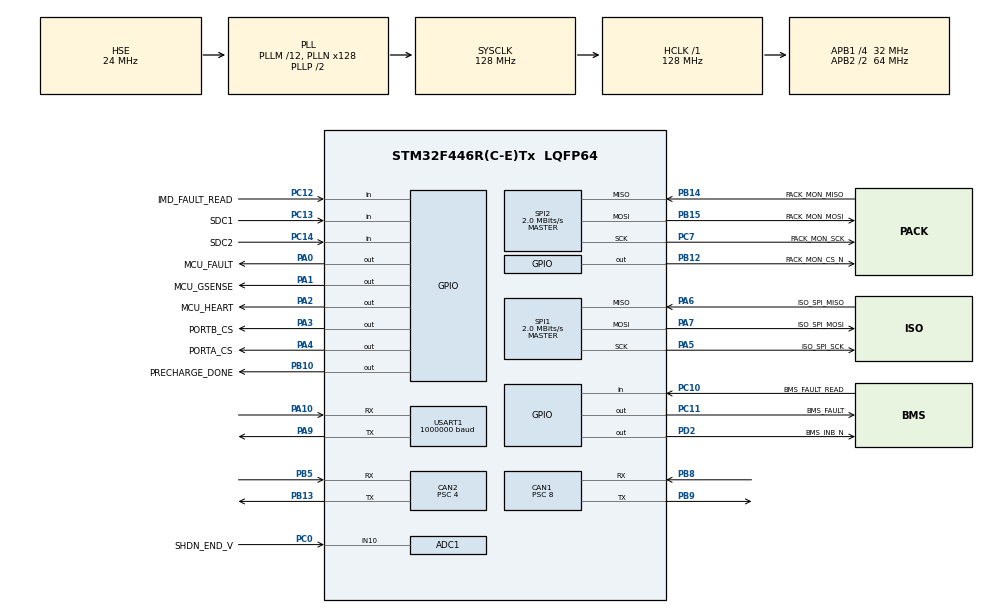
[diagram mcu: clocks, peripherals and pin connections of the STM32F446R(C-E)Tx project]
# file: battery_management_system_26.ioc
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ADC1.Channel-0\#ChannelRegularConversion=ADC_CHANNEL_10
ADC1.ContinuousConvMode=DISABLE
ADC1.ExternalTrigConv=ADC_EXTERNALTRIGCONV_T3_TRGO
ADC1.NbrOfConversionFlag=1
ADC1.Rank-0\#ChannelRegularConversion=1
ADC1.SamplingTime-0\#ChannelRegularConversion=ADC_SAMPLETIME_56CYCLES
ADC1.master=1
CAN1.ABOM=ENABLE
CAN1.AWUM=ENABLE
CAN1.BS1=CAN_BS1_6TQ
CAN1.CalculateBaudRate=500000
CAN1.CalculateTimeBit=2000
CAN1.CalculateTimeQuantum=250.0
CAN1.Prescaler=8
CAN2.ABOM=ENABLE
CAN2.AWUM=ENABLE
CAN2.BS1=CAN_BS1_6TQ
CAN2.CalculateBaudRate=1000000
CAN2.CalculateTimeBit=1000
CAN2.CalculateTimeQuantum=125.0
CAN2.Prescaler=4
Dma.Request0=SPI1_TX
Dma.Request1=SPI1_RX
Dma.Request2=SPI2_TX
Dma.Request3=SPI2_RX
Dma.SPI1_RX.1.Direction=DMA_PERIPH_TO_MEMORY
Dma.SPI1_RX.1.FIFOMode=DMA_FIFOMODE_DISABLE
Dma.SPI1_RX.1.Instance=DMA2_Stream2
Dma.SPI1_RX.1.MemDataAlignment=DMA_MDATAALIGN_BYTE
Dma.SPI1_RX.1.MemInc=DMA_MINC_ENABLE
Dma.SPI1_RX.1.Mode=DMA_NORMAL
Dma.SPI1_RX.1.PeriphDataAlignment=DMA_PDATAALIGN_BYTE
Dma.SPI1_RX.1.PeriphInc=DMA_PINC_DISABLE
Dma.SPI1_RX.1.Priority=DMA_PRIORITY_HIGH
Dma.SPI1_TX.0.Direction=DMA_MEMORY_TO_PERIPH
Dma.SPI1_TX.0.FIFOMode=DMA_FIFOMODE_DISABLE
Dma.SPI1_TX.0.Instance=DMA2_Stream3
Dma.SPI1_TX.0.MemDataAlignment=DMA_MDATAALIGN_BYTE
Dma.SPI1_TX.0.MemInc=DMA_MINC_ENABLE
Dma.SPI1_TX.0.Mode=DMA_NORMAL
Dma.SPI1_TX.0.PeriphDataAlignment=DMA_PDATAALIGN_BYTE
Dma.SPI1_TX.0.PeriphInc=DMA_PINC_DISABLE
Dma.SPI1_TX.0.Priority=DMA_PRIORITY_HIGH
Dma.SPI2_RX.3.Direction=DMA_PERIPH_TO_MEMORY
Dma.SPI2_RX.3.FIFOMode=DMA_FIFOMODE_DISABLE
Dma.SPI2_RX.3.Instance=DMA1_Stream3
Dma.SPI2_RX.3.MemDataAlignment=DMA_MDATAALIGN_BYTE
Dma.SPI2_RX.3.MemInc=DMA_MINC_ENABLE
Dma.SPI2_RX.3.Mode=DMA_NORMAL
Dma.SPI2_RX.3.PeriphDataAlignment=DMA_PDATAALIGN_BYTE
Dma.SPI2_RX.3.PeriphInc=DMA_PINC_DISABLE
Dma.SPI2_RX.3.Priority=DMA_PRIORITY_HIGH
Dma.SPI2_TX.2.Direction=DMA_MEMORY_TO_PERIPH
Dma.SPI2_TX.2.FIFOMode=DMA_FIFOMODE_DISABLE
Dma.SPI2_TX.2.Instance=DMA1_Stream4
Dma.SPI2_TX.2.MemDataAlignment=DMA_MDATAALIGN_BYTE
Dma.SPI2_TX.2.MemInc=DMA_MINC_ENABLE
Dma.SPI2_TX.2.Mode=DMA_NORMAL
Dma.SPI2_TX.2.PeriphDataAlignment=DMA_PDATAALIGN_BYTE
Dma.SPI2_TX.2.PeriphInc=DMA_PINC_DISABLE
Dma.SPI2_TX.2.Priority=DMA_PRIORITY_HIGH
FREERTOS.INCLUDE_vTaskDelayUntil=1
FREERTOS.Tasks01=printTask,0,2048,startPrintTask,Default,NULL,Static,printTaskBuffer,printTaskControlBlock;statusUpdateTas,-3,256,startStatusUpdateTask,Default,NULL,Static,idleTaskBuffer,idleTaskControlBlock;updateCellMon,0,1024,startUpdateCellMon,Default,NULL,Static,updateCellMonBuffer,updateCellMonControlBlock;updatePackMon,0,1024,startUpdatePackMon,Default,NULL,Static,updatePackMonBuffer,updatePackMonControlBlock;serviceGcan,0,1024,startServiceGcanTask,Default,NULL,Static,serviceGcanBuffer,serviceGcanControlBlock;chargerTask,1,1024,startChargerTask,Default,NULL,Static,chargerTaskBuffer,chargerTaskControlBlock;imdTask,-3,1024,StartImdTask,Default,NULL,Static,imdTaskBuffer,imdTaskControlBlock
Mcu.Family=STM32F4
Mcu.Name=STM32F446R(C-E)Tx
Mcu.Package=LQFP64
NVIC.ADC_IRQn=true\:5\:0\:false\:false\:true\:true\:true\:true\:true
NVIC.CAN1_RX0_IRQn=true\:5\:0\:false\:false\:true\:true\:true\:true\:true
NVIC.CAN1_RX1_IRQn=true\:5\:0\:false\:false\:true\:true\:true\:true\:true
NVIC.CAN1_TX_IRQn=true\:5\:0\:false\:false\:true\:true\:true\:true\:true
NVIC.CAN2_RX0_IRQn=true\:5\:0\:false\:false\:true\:true\:true\:true\:true
NVIC.CAN2_RX1_IRQn=true\:5\:0\:false\:false\:true\:true\:true\:true\:true
NVIC.CAN2_TX_IRQn=true\:5\:0\:false\:false\:true\:true\:true\:true\:true
NVIC.DMA1_Stream3_IRQn=true\:5\:0\:false\:false\:true\:true\:false\:true\:true
NVIC.DMA1_Stream4_IRQn=true\:5\:0\:false\:false\:true\:true\:false\:true\:true
NVIC.DMA2_Stream2_IRQn=true\:5\:0\:true\:false\:true\:false\:false\:true\:true
NVIC.DMA2_Stream3_IRQn=true\:5\:0\:false\:false\:true\:true\:false\:true\:true
NVIC.PriorityGroup=NVIC_PRIORITYGROUP_4
NVIC.SPI1_IRQn=true\:5\:0\:false\:false\:true\:true\:true\:true\:true
NVIC.SPI2_IRQn=true\:5\:0\:false\:false\:true\:true\:true\:true\:true
NVIC.TIM3_IRQn=true\:5\:0\:false\:false\:true\:true\:true\:true\:true
NVIC.TIM6_DAC_IRQn=true\:15\:0\:false\:false\:true\:false\:false\:true\:true
NVIC.TIM7_IRQn=true\:5\:0\:false\:false\:true\:true\:true\:true\:true
NVIC.TimeBase=TIM6_DAC_IRQn
NVIC.TimeBaseIP=TIM6
PA0-WKUP.GPIO_Label=MCU_FAULT
PA0-WKUP.Signal=GPIO_Output
PA1.GPIO_Label=MCU_GSENSE
PA1.Signal=GPIO_Output
PA10.Mode=Asynchronous
PA10.Signal=USART1_RX
PA13.GPIO_Label=TMS
PA13.Mode=Trace_Asynchronous_SW
PA13.Signal=SYS_JTMS-SWDIO
PA14.GPIO_Label=TCK
PA14.Mode=Trace_Asynchronous_SW
PA14.Signal=SYS_JTCK-SWCLK
PA2.GPIO_Label=MCU_HEART
PA2.Signal=GPIO_Output
PA3.GPIO_Label=PORTB_CS
PA3.Signal=GPIO_Output
PA4.GPIO_Label=PORTA_CS
PA4.Signal=GPIO_Output
PA5.GPIO_Label=ISO_SPI_SCK
PA5.Mode=Full_Duplex_Master
PA5.Signal=SPI1_SCK
PA6.GPIO_Label=ISO_SPI_MISO
PA6.GPIO_PuPd=GPIO_PULLUP
PA6.Mode=Full_Duplex_Master
PA6.Signal=SPI1_MISO
PA7.GPIO_Label=ISO_SPI_MOSI
PA7.Mode=Full_Duplex_Master
PA7.Signal=SPI1_MOSI
PA9.Mode=Asynchronous
PA9.Signal=USART1_TX
PB10.GPIO_Label=PRECHARGE_DONE
PB10.Signal=GPIO_Output
PB12.GPIO_Label=PACK_MON_CS_N
PB12.Signal=GPIO_Output
PB13.Mode=CAN_Activate
PB13.Signal=CAN2_TX
PB14.GPIO_Label=PACK_MON_MISO
PB14.GPIO_PuPd=GPIO_PULLUP
PB14.Mode=Full_Duplex_Master
PB14.Signal=SPI2_MISO
PB15.GPIO_Label=PACK_MON_MOSI
PB15.Mode=Full_Duplex_Master
PB15.Signal=SPI2_MOSI
PB3.GPIO_Label=SWO
PB3.Mode=Trace_Asynchronous_SW
PB3.Signal=SYS_JTDO-SWO
PB5.Mode=CAN_Activate
PB5.Signal=CAN2_RX
PB8.Mode=CAN_Activate
PB8.Signal=CAN1_RX
PB9.Mode=CAN_Activate
PB9.Signal=CAN1_TX
PC0.GPIO_Label=SHDN_END_V
PC0.Signal=ADCx_IN10
PC10.GPIO_Label=BMS_FAULT_READ
PC10.Signal=GPIO_Input
PC11.GPIO_Label=BMS_FAULT
PC11.GPIO_ModeDefaultOutputPP=GPIO_MODE_OUTPUT_OD
PC11.GPIO_PuPd=GPIO_NOPULL
PC11.Signal=GPIO_Output
PC12.GPIO_Label=IMD_FAULT_READ
PC12.Signal=GPIO_Input
PC13.GPIO_Label=SDC1
PC13.Signal=GPIO_Input
PC14-OSC32_IN.GPIO_Label=SDC2
PC14-OSC32_IN.Signal=GPIO_Input
PC7.GPIO_Label=PACK_MON_SCK
PC7.Mode=Full_Duplex_Master
PC7.Signal=SPI2_SCK
PD2.GPIO_Label=BMS_INB_N
PD2.GPIO_ModeDefaultOutputPP=GPIO_MODE_OUTPUT_OD
PD2.GPIO_PuPd=GPIO_NOPULL
PD2.Signal=GPIO_Output
PH0-OSC_IN.Mode=HSE-External-Oscillator
PH0-OSC_IN.Signal=RCC_OSC_IN
PH1-OSC_OUT.Mode=HSE-External-Oscillator
PH1-OSC_OUT.Signal=RCC_OSC_OUT
ProjectManager.HeapSize=0x200
ProjectManager.StackSize=0x400
ProjectManager.TargetToolchain=CMake
RCC.48MHZClocksFreq_Value=84000000
RCC.AHBFreq_Value=128000000
RCC.APB1CLKDivider=RCC_HCLK_DIV4
RCC.APB1Freq_Value=32000000
RCC.APB1TimFreq_Value=64000000
RCC.APB2CLKDivider=RCC_HCLK_DIV2
RCC.APB2Freq_Value=64000000
RCC.APB2TimFreq_Value=128000000
RCC.CortexFreq_Value=128000000
RCC.FLatency-AdvancedSettings=FLASH_LATENCY_4
RCC.HCLKFreq_Value=128000000
RCC.HSE_VALUE=24000000
RCC.HSI_VALUE=16000000
RCC.PLLM=12
RCC.PLLN=128
RCC.PLLSourceVirtual=RCC_PLLSOURCE_HSE
RCC.SYSCLKFreq_VALUE=128000000
RCC.SYSCLKSource=RCC_SYSCLKSOURCE_PLLCLK
RCC.USBFreq_Value=128000000
RCC.VCOOutputFreq_Value=256000000
SH.ADCx_IN10.0=ADC1_IN10,IN10
SPI1.BaudRatePrescaler=SPI_BAUDRATEPRESCALER_32
SPI1.CLKPhase=SPI_PHASE_2EDGE
SPI1.CLKPolarity=SPI_POLARITY_HIGH
SPI1.CalculateBaudRate=2.0 MBits/s
SPI1.Direction=SPI_DIRECTION_2LINES
SPI1.Mode=SPI_MODE_MASTER
SPI1.VirtualType=VM_MASTER
SPI2.BaudRatePrescaler=SPI_BAUDRATEPRESCALER_16
SPI2.CLKPhase=SPI_PHASE_2EDGE
SPI2.CLKPolarity=SPI_POLARITY_HIGH
SPI2.CalculateBaudRate=2.0 MBits/s
SPI2.Direction=SPI_DIRECTION_2LINES
SPI2.Mode=SPI_MODE_MASTER
SPI2.VirtualType=VM_MASTER
TIM14.Prescaler=64-1
TIM2.Prescaler=63
TIM3.AutoReloadPreload=TIM_AUTORELOAD_PRELOAD_DISABLE
TIM3.Period=1000-1
TIM3.Prescaler=64-1
TIM3.TIM_MasterOutputTrigger=TIM_TRGO_UPDATE
TIM7.Prescaler=64-1
USART1.BaudRate=1000000
USART1.VirtualMode=VM_ASYNC
VP_FREERTOS_VS_CMSIS_V1.Mode=CMSIS_V1
VP_SYS_VS_tim6.Mode=TIM6
VP_TIM14_VS_ClockSourceINT.Mode=Enable_Timer
VP_TIM2_VS_ClockSourceINT.Mode=Internal
VP_TIM3_VS_ClockSourceINT.Mode=Internal
VP_TIM7_VS_ClockSourceINT.Mode=Enable_Timer
board=NUCLEO-F446RE

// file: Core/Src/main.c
/* USER CODE BEGIN Header */
/**
  ******************************************************************************
  * @file           : main.c
  * @brief          : Main program body
  ******************************************************************************
  * @attention
  *
  * Copyright (c) 2025 STMicroelectronics.
  * All rights reserved.
  *
  * This software is licensed under terms that can be found in the LICENSE file
  * in the root directory of this software component.
  * If no LICENSE file comes with this software, it is provided AS-IS.
  *
  ******************************************************************************
  */
/* USER CODE END Header */
#include "main.h"
#include "cmsis_os.h"

/* USER CODE BEGIN Includes */
#include "gcanUpdateTask.h"
#include "printTask.h"
#include "chargerTask.h"
#include "statusUpdateTask.h"
#include "updateCellMonitorTask.h"
#include "updatePackMonitorTask.h"
#include "imd.h"
#include "utils.h"
#include "GopherCAN.h"
#include "gopher_sense.h"
#include <stdbool.h>

/* USER CODE END Includes */

ADC_HandleTypeDef hadc1;

CAN_HandleTypeDef hcan1;
CAN_HandleTypeDef hcan2;

SPI_HandleTypeDef hspi1;
SPI_HandleTypeDef hspi2;
DMA_HandleTypeDef hdma_spi1_tx;
DMA_HandleTypeDef hdma_spi1_rx;
DMA_HandleTypeDef hdma_spi2_tx;
DMA_HandleTypeDef hdma_spi2_rx;

TIM_HandleTypeDef htim2;
TIM_HandleTypeDef htim3;
TIM_HandleTypeDef htim7;
TIM_HandleTypeDef htim14;

UART_HandleTypeDef huart1;

osThreadId printTaskHandle;
uint32_t printTaskBuffer[ 2048 ];
osStaticThreadDef_t printTaskControlBlock;
osThreadId statusUpdateTasHandle;
uint32_t idleTaskBuffer[ 256 ];
osStaticThreadDef_t idleTaskControlBlock;
osThreadId updateCellMonHandle;
uint32_t updateCellMonBuffer[ 1024 ];
osStaticThreadDef_t updateCellMonControlBlock;
osThreadId updatePackMonHandle;
uint32_t updatePackMonBuffer[ 1024 ];
osStaticThreadDef_t updatePackMonControlBlock;
osThreadId serviceGcanHandle;
uint32_t serviceGcanBuffer[ 1024 ];
osStaticThreadDef_t serviceGcanControlBlock;
osThreadId chargerTaskHandle;
uint32_t chargerTaskBuffer[ 1024 ];
osStaticThreadDef_t chargerTaskControlBlock;
osThreadId imdTaskHandle;
uint32_t imdTaskBuffer[ 1024 ];
osStaticThreadDef_t imdTaskControlBlock;

void SystemClock_Config(void);
static void MX_GPIO_Init(void);
static void MX_DMA_Init(void);
static void MX_SPI1_Init(void);
static void MX_TIM7_Init(void);
static void MX_USART1_UART_Init(void);
static void MX_SPI2_Init(void);
static void MX_TIM2_Init(void);
static void MX_TIM14_Init(void);
static void MX_CAN2_Init(void);
static void MX_CAN1_Init(void);
static void MX_ADC1_Init(void);
static void MX_TIM3_Init(void);
void startPrintTask(void const * argument);
void startStatusUpdateTask(void const * argument);
void startUpdateCellMon(void const * argument);
void startUpdatePackMon(void const * argument);
void startServiceGcanTask(void const * argument);
void startChargerTask(void const * argument);
void StartImdTask(void const * argument);

/* USER CODE BEGIN PFP */
#ifdef __GNUC__
#define PUTCHAR_PROTOTYPE int __io_putchar(int ch)
#define GETCHAR_PROTOTYPE int __io_getchar(void)
#else
#define PUTCHAR_PROTOTYPE int fputc(int ch, FILE *f)
#define GETCHAR_PROTOTYPE int fgetc(FILE *f)
#endif

PUTCHAR_PROTOTYPE
{
  HAL_UART_Transmit(&huart1, (uint8_t *)&ch, 1, HAL_MAX_DELAY);
  return ch;
}

GETCHAR_PROTOTYPE
{
  uint8_t ch = 0;

  /* Clear the Overrun flag just before receiving the first character */
  __HAL_UART_CLEAR_OREFLAG(&huart1);

  /* Wait for reception of a character on the USART RX line and echo this
   * character on console */
  HAL_UART_Receive(&huart1, (uint8_t *)&ch, 1, HAL_MAX_DELAY);
  HAL_UART_Transmit(&huart1, (uint8_t *)&ch, 1, HAL_MAX_DELAY);
  return ch;
}
/* USER CODE END PFP */

/* USER CODE BEGIN 0 */
/*!
  @brief   Interrupt when SPI TX/RX finishes. Unblock task by releasing
  	  	   semaphore
  @param   SPI Handle
*/
void HAL_SPI_TxRxCpltCallback(SPI_HandleTypeDef *hspi)
{
  BaseType_t xHigherPriorityTaskWoken = pdFALSE;

	if (hspi == &hspi1)
	{
		xTaskNotifyFromISR(updateCellMonHandle, SPI_SUCCESS, eSetBits, &xHigherPriorityTaskWoken);
	}
  if (hspi == &hspi2)
  {
		xTaskNotifyFromISR(updatePackMonHandle, SPI_SUCCESS, eSetBits, &xHigherPriorityTaskWoken);
  }

  portYIELD_FROM_ISR(xHigherPriorityTaskWoken);
}

void HAL_SPI_TxCpltCallback(SPI_HandleTypeDef *hspi)
{
  BaseType_t xHigherPriorityTaskWoken = pdFALSE;

	if (hspi == &hspi1)
	{
		xTaskNotifyFromISR(updateCellMonHandle, SPI_SUCCESS, eSetBits, &xHigherPriorityTaskWoken);
	}
  if (hspi == &hspi2)
  {
		xTaskNotifyFromISR(updatePackMonHandle, SPI_SUCCESS, eSetBits, &xHigherPriorityTaskWoken);
  }

  portYIELD_FROM_ISR(xHigherPriorityTaskWoken);
}

void HAL_ADC_ConvCpltCallback(ADC_HandleTypeDef* hadc)
{
    if(hadc == &hadc1)
    {
        adcRawValue = HAL_ADC_GetValue(hadc);
    }
}

/* USER CODE END 0 */

int main(void)
{

  /* MCU Configuration--------------------------------------------------------*/

  /* Reset of all peripherals, Initializes the Flash interface and the Systick. */
  HAL_Init();

  /* Configure the system clock */
  SystemClock_Config();

  /* Initialize all configured peripherals */
  MX_GPIO_Init();
  MX_DMA_Init();
  MX_SPI1_Init();
  MX_TIM7_Init();
  MX_USART1_UART_Init();
  MX_SPI2_Init();
  MX_TIM2_Init();
  MX_TIM14_Init();
  MX_CAN2_Init();
  MX_CAN1_Init();
  MX_ADC1_Init();
  MX_TIM3_Init();
  /* USER CODE BEGIN 2 */
  HAL_TIM_Base_Start(&htim2);

  init_can(&hcan2, GCAN0);
  init_can(&hcan1, GCAN2);
  gsense_init(&hcan2, MCU_GSENSE_GPIO_Port, MCU_GSENSE_Pin);

  /* USER CODE END 2 */

  /* Create the thread(s) */
  /* definition and creation of printTask */
  osThreadStaticDef(printTask, startPrintTask, osPriorityNormal, 0, 2048, printTaskBuffer, &printTaskControlBlock);
  printTaskHandle = osThreadCreate(osThread(printTask), NULL);

  /* definition and creation of statusUpdateTas */
  osThreadStaticDef(statusUpdateTas, startStatusUpdateTask, osPriorityIdle, 0, 256, idleTaskBuffer, &idleTaskControlBlock);
  statusUpdateTasHandle = osThreadCreate(osThread(statusUpdateTas), NULL);

  /* definition and creation of updateCellMon */
  osThreadStaticDef(updateCellMon, startUpdateCellMon, osPriorityNormal, 0, 1024, updateCellMonBuffer, &updateCellMonControlBlock);
  updateCellMonHandle = osThreadCreate(osThread(updateCellMon), NULL);

  /* definition and creation of updatePackMon */
  osThreadStaticDef(updatePackMon, startUpdatePackMon, osPriorityNormal, 0, 1024, updatePackMonBuffer, &updatePackMonControlBlock);
  updatePackMonHandle = osThreadCreate(osThread(updatePackMon), NULL);

  /* definition and creation of serviceGcan */
  osThreadStaticDef(serviceGcan, startServiceGcanTask, osPriorityNormal, 0, 1024, serviceGcanBuffer, &serviceGcanControlBlock);
  serviceGcanHandle = osThreadCreate(osThread(serviceGcan), NULL);

  /* definition and creation of chargerTask */
  osThreadStaticDef(chargerTask, startChargerTask, osPriorityAboveNormal, 0, 1024, chargerTaskBuffer, &chargerTaskControlBlock);
  chargerTaskHandle = osThreadCreate(osThread(chargerTask), NULL);

  /* definition and creation of imdTask */
  osThreadStaticDef(imdTask, StartImdTask, osPriorityIdle, 0, 1024, imdTaskBuffer, &imdTaskControlBlock);
  imdTaskHandle = osThreadCreate(osThread(imdTask), NULL);

  /* Start scheduler */
  osKernelStart();

  /* We should never get here as control is now taken by the scheduler */

  /* Infinite loop */
  while (1)
  {

  }
}

void SystemClock_Config(void)
{
  RCC_OscInitTypeDef RCC_OscInitStruct = {0};
  RCC_ClkInitTypeDef RCC_ClkInitStruct = {0};

  /** Configure the main internal regulator output voltage
  */
  __HAL_RCC_PWR_CLK_ENABLE();
  __HAL_PWR_VOLTAGESCALING_CONFIG(PWR_REGULATOR_VOLTAGE_SCALE2);

  /** Initializes the RCC Oscillators according to the specified parameters
  * in the RCC_OscInitTypeDef structure.
  */
  RCC_OscInitStruct.OscillatorType = RCC_OSCILLATORTYPE_HSE;
  RCC_OscInitStruct.HSEState = RCC_HSE_ON;
  RCC_OscInitStruct.PLL.PLLState = RCC_PLL_ON;
  RCC_OscInitStruct.PLL.PLLSource = RCC_PLLSOURCE_HSE;
  RCC_OscInitStruct.PLL.PLLM = 12;
  RCC_OscInitStruct.PLL.PLLN = 128;
  RCC_OscInitStruct.PLL.PLLP = RCC_PLLP_DIV2;
  RCC_OscInitStruct.PLL.PLLQ = 2;
  RCC_OscInitStruct.PLL.PLLR = 2;
  if (HAL_RCC_OscConfig(&RCC_OscInitStruct) != HAL_OK)
  {
    Error_Handler();
  }

  /** Initializes the CPU, AHB and APB buses clocks
  */
  RCC_ClkInitStruct.ClockType = RCC_CLOCKTYPE_HCLK|RCC_CLOCKTYPE_SYSCLK
                              |RCC_CLOCKTYPE_PCLK1|RCC_CLOCKTYPE_PCLK2;
  RCC_ClkInitStruct.SYSCLKSource = RCC_SYSCLKSOURCE_PLLCLK;
  RCC_ClkInitStruct.AHBCLKDivider = RCC_SYSCLK_DIV1;
  RCC_ClkInitStruct.APB1CLKDivider = RCC_HCLK_DIV4;
  RCC_ClkInitStruct.APB2CLKDivider = RCC_HCLK_DIV2;

  if (HAL_RCC_ClockConfig(&RCC_ClkInitStruct, FLASH_LATENCY_4) != HAL_OK)
  {
    Error_Handler();
  }
}

static void MX_ADC1_Init(void)
{

  ADC_ChannelConfTypeDef sConfig = {0};

  /** Configure the global features of the ADC (Clock, Resolution, Data Alignment and number of conversion)
  */
  hadc1.Instance = ADC1;
  hadc1.Init.ClockPrescaler = ADC_CLOCK_SYNC_PCLK_DIV2;
  hadc1.Init.Resolution = ADC_RESOLUTION_12B;
  hadc1.Init.ScanConvMode = DISABLE;
  hadc1.Init.ContinuousConvMode = DISABLE;
  hadc1.Init.DiscontinuousConvMode = DISABLE;
  hadc1.Init.ExternalTrigConvEdge = ADC_EXTERNALTRIGCONVEDGE_RISING;
  hadc1.Init.ExternalTrigConv = ADC_EXTERNALTRIGCONV_T3_TRGO;
  hadc1.Init.DataAlign = ADC_DATAALIGN_RIGHT;
  hadc1.Init.NbrOfConversion = 1;
  hadc1.Init.DMAContinuousRequests = DISABLE;
  hadc1.Init.EOCSelection = ADC_EOC_SINGLE_CONV;
  if (HAL_ADC_Init(&hadc1) != HAL_OK)
  {
    Error_Handler();
  }

  /** Configure for the selected ADC regular channel its corresponding rank in the sequencer and its sample time.
  */
  sConfig.Channel = ADC_CHANNEL_10;
  sConfig.Rank = 1;
  sConfig.SamplingTime = ADC_SAMPLETIME_56CYCLES;
  if (HAL_ADC_ConfigChannel(&hadc1, &sConfig) != HAL_OK)
  {
    Error_Handler();
  }

}

static void MX_CAN1_Init(void)
{

  hcan1.Instance = CAN1;
  hcan1.Init.Prescaler = 8;
  hcan1.Init.Mode = CAN_MODE_NORMAL;
  hcan1.Init.SyncJumpWidth = CAN_SJW_1TQ;
  hcan1.Init.TimeSeg1 = CAN_BS1_6TQ;
  hcan1.Init.TimeSeg2 = CAN_BS2_1TQ;
  hcan1.Init.TimeTriggeredMode = DISABLE;
  hcan1.Init.AutoBusOff = ENABLE;
  hcan1.Init.AutoWakeUp = ENABLE;
  hcan1.Init.AutoRetransmission = DISABLE;
  hcan1.Init.ReceiveFifoLocked = DISABLE;
  hcan1.Init.TransmitFifoPriority = DISABLE;
  if (HAL_CAN_Init(&hcan1) != HAL_OK)
  {
    Error_Handler();
  }

}

static void MX_CAN2_Init(void)
{

  hcan2.Instance = CAN2;
  hcan2.Init.Prescaler = 4;
  hcan2.Init.Mode = CAN_MODE_NORMAL;
  hcan2.Init.SyncJumpWidth = CAN_SJW_1TQ;
  hcan2.Init.TimeSeg1 = CAN_BS1_6TQ;
  hcan2.Init.TimeSeg2 = CAN_BS2_1TQ;
  hcan2.Init.TimeTriggeredMode = DISABLE;
  hcan2.Init.AutoBusOff = ENABLE;
  hcan2.Init.AutoWakeUp = ENABLE;
  hcan2.Init.AutoRetransmission = DISABLE;
  hcan2.Init.ReceiveFifoLocked = DISABLE;
  hcan2.Init.TransmitFifoPriority = DISABLE;
  if (HAL_CAN_Init(&hcan2) != HAL_OK)
  {
    Error_Handler();
  }

}

static void MX_SPI1_Init(void)
{

  /* SPI1 parameter configuration*/
  hspi1.Instance = SPI1;
  hspi1.Init.Mode = SPI_MODE_MASTER;
  hspi1.Init.Direction = SPI_DIRECTION_2LINES;
  hspi1.Init.DataSize = SPI_DATASIZE_8BIT;
  hspi1.Init.CLKPolarity = SPI_POLARITY_HIGH;
  hspi1.Init.CLKPhase = SPI_PHASE_2EDGE;
  hspi1.Init.NSS = SPI_NSS_SOFT;
  hspi1.Init.BaudRatePrescaler = SPI_BAUDRATEPRESCALER_32;
  hspi1.Init.FirstBit = SPI_FIRSTBIT_MSB;
  hspi1.Init.TIMode = SPI_TIMODE_DISABLE;
  hspi1.Init.CRCCalculation = SPI_CRCCALCULATION_DISABLE;
  hspi1.Init.CRCPolynomial = 10;
  if (HAL_SPI_Init(&hspi1) != HAL_OK)
  {
    Error_Handler();
  }

}

static void MX_SPI2_Init(void)
{

  /* SPI2 parameter configuration*/
  hspi2.Instance = SPI2;
  hspi2.Init.Mode = SPI_MODE_MASTER;
  hspi2.Init.Direction = SPI_DIRECTION_2LINES;
  hspi2.Init.DataSize = SPI_DATASIZE_8BIT;
  hspi2.Init.CLKPolarity = SPI_POLARITY_HIGH;
  hspi2.Init.CLKPhase = SPI_PHASE_2EDGE;
  hspi2.Init.NSS = SPI_NSS_SOFT;
  hspi2.Init.BaudRatePrescaler = SPI_BAUDRATEPRESCALER_16;
  hspi2.Init.FirstBit = SPI_FIRSTBIT_MSB;
  hspi2.Init.TIMode = SPI_TIMODE_DISABLE;
  hspi2.Init.CRCCalculation = SPI_CRCCALCULATION_DISABLE;
  hspi2.Init.CRCPolynomial = 10;
  if (HAL_SPI_Init(&hspi2) != HAL_OK)
  {
    Error_Handler();
  }

}

static void MX_TIM2_Init(void)
{

  TIM_ClockConfigTypeDef sClockSourceConfig = {0};
  TIM_MasterConfigTypeDef sMasterConfig = {0};

  htim2.Instance = TIM2;
  htim2.Init.Prescaler = 63;
  htim2.Init.CounterMode = TIM_COUNTERMODE_UP;
  htim2.Init.Period = 4294967295;
  htim2.Init.ClockDivision = TIM_CLOCKDIVISION_DIV1;
  htim2.Init.AutoReloadPreload = TIM_AUTORELOAD_PRELOAD_DISABLE;
  if (HAL_TIM_Base_Init(&htim2) != HAL_OK)
  {
    Error_Handler();
  }
  sClockSourceConfig.ClockSource = TIM_CLOCKSOURCE_INTERNAL;
  if (HAL_TIM_ConfigClockSource(&htim2, &sClockSourceConfig) != HAL_OK)
  {
    Error_Handler();
  }
  sMasterConfig.MasterOutputTrigger = TIM_TRGO_RESET;
  sMasterConfig.MasterSlaveMode = TIM_MASTERSLAVEMODE_DISABLE;
  if (HAL_TIMEx_MasterConfigSynchronization(&htim2, &sMasterConfig) != HAL_OK)
  {
    Error_Handler();
  }

}

static void MX_TIM3_Init(void)
{

  TIM_ClockConfigTypeDef sClockSourceConfig = {0};
  TIM_MasterConfigTypeDef sMasterConfig = {0};

  htim3.Instance = TIM3;
  htim3.Init.Prescaler = 64-1;
  htim3.Init.CounterMode = TIM_COUNTERMODE_UP;
  htim3.Init.Period = 1000-1;
  htim3.Init.ClockDivision = TIM_CLOCKDIVISION_DIV1;
  htim3.Init.AutoReloadPreload = TIM_AUTORELOAD_PRELOAD_DISABLE;
  if (HAL_TIM_Base_Init(&htim3) != HAL_OK)
  {
    Error_Handler();
  }
  sClockSourceConfig.ClockSource = TIM_CLOCKSOURCE_INTERNAL;
  if (HAL_TIM_ConfigClockSource(&htim3, &sClockSourceConfig) != HAL_OK)
  {
    Error_Handler();
  }
  sMasterConfig.MasterOutputTrigger = TIM_TRGO_UPDATE;
  sMasterConfig.MasterSlaveMode = TIM_MASTERSLAVEMODE_DISABLE;
  if (HAL_TIMEx_MasterConfigSynchronization(&htim3, &sMasterConfig) != HAL_OK)
  {
    Error_Handler();
  }

}

static void MX_TIM7_Init(void)
{

  TIM_MasterConfigTypeDef sMasterConfig = {0};

  htim7.Instance = TIM7;
  htim7.Init.Prescaler = 64-1;
  htim7.Init.CounterMode = TIM_COUNTERMODE_UP;
  htim7.Init.Period = 65535;
  htim7.Init.AutoReloadPreload = TIM_AUTORELOAD_PRELOAD_DISABLE;
  if (HAL_TIM_Base_Init(&htim7) != HAL_OK)
  {
    Error_Handler();
  }
  sMasterConfig.MasterOutputTrigger = TIM_TRGO_RESET;
  sMasterConfig.MasterSlaveMode = TIM_MASTERSLAVEMODE_DISABLE;
  if (HAL_TIMEx_MasterConfigSynchronization(&htim7, &sMasterConfig) != HAL_OK)
  {
    Error_Handler();
  }

}

static void MX_TIM14_Init(void)
{

  htim14.Instance = TIM14;
  htim14.Init.Prescaler = 64-1;
  htim14.Init.CounterMode = TIM_COUNTERMODE_UP;
  htim14.Init.Period = 65535;
  htim14.Init.ClockDivision = TIM_CLOCKDIVISION_DIV1;
  htim14.Init.AutoReloadPreload = TIM_AUTORELOAD_PRELOAD_DISABLE;
  if (HAL_TIM_Base_Init(&htim14) != HAL_OK)
  {
    Error_Handler();
  }

}

static void MX_USART1_UART_Init(void)
{

  huart1.Instance = USART1;
  huart1.Init.BaudRate = 1000000;
  huart1.Init.WordLength = UART_WORDLENGTH_8B;
  huart1.Init.StopBits = UART_STOPBITS_1;
  huart1.Init.Parity = UART_PARITY_NONE;
  huart1.Init.Mode = UART_MODE_TX_RX;
  huart1.Init.HwFlowCtl = UART_HWCONTROL_NONE;
  huart1.Init.OverSampling = UART_OVERSAMPLING_16;
  if (HAL_UART_Init(&huart1) != HAL_OK)
  {
    Error_Handler();
  }

}

static void MX_DMA_Init(void)
{

  /* DMA controller clock enable */
  __HAL_RCC_DMA2_CLK_ENABLE();
  __HAL_RCC_DMA1_CLK_ENABLE();

  /* DMA interrupt init */
  /* DMA1_Stream3_IRQn interrupt configuration */
  HAL_NVIC_SetPriority(DMA1_Stream3_IRQn, 5, 0);
  HAL_NVIC_EnableIRQ(DMA1_Stream3_IRQn);
  /* DMA1_Stream4_IRQn interrupt configuration */
  HAL_NVIC_SetPriority(DMA1_Stream4_IRQn, 5, 0);
  HAL_NVIC_EnableIRQ(DMA1_Stream4_IRQn);
  /* DMA2_Stream2_IRQn interrupt configuration */
  HAL_NVIC_SetPriority(DMA2_Stream2_IRQn, 5, 0);
  HAL_NVIC_EnableIRQ(DMA2_Stream2_IRQn);
  /* DMA2_Stream3_IRQn interrupt configuration */
  HAL_NVIC_SetPriority(DMA2_Stream3_IRQn, 5, 0);
  HAL_NVIC_EnableIRQ(DMA2_Stream3_IRQn);

}

static void MX_GPIO_Init(void)
{
  GPIO_InitTypeDef GPIO_InitStruct = {0};

  /* GPIO Ports Clock Enable */
  __HAL_RCC_GPIOC_CLK_ENABLE();
  __HAL_RCC_GPIOH_CLK_ENABLE();
  __HAL_RCC_GPIOA_CLK_ENABLE();
  __HAL_RCC_GPIOB_CLK_ENABLE();
  __HAL_RCC_GPIOD_CLK_ENABLE();

  /*Configure GPIO pin Output Level */
  HAL_GPIO_WritePin(GPIOA, MCU_FAULT_Pin|MCU_GSENSE_Pin|MCU_HEART_Pin|PORTB_CS_Pin
                          |PORTA_CS_Pin, GPIO_PIN_RESET);

  /*Configure GPIO pin Output Level */
  HAL_GPIO_WritePin(GPIOB, PRECHARGE_DONE_Pin|PACK_MON_CS_N_Pin, GPIO_PIN_RESET);

  /*Configure GPIO pin Output Level */
  HAL_GPIO_WritePin(BMS_FAULT_GPIO_Port, BMS_FAULT_Pin, GPIO_PIN_RESET);

  /*Configure GPIO pin Output Level */
  HAL_GPIO_WritePin(BMS_INB_N_GPIO_Port, BMS_INB_N_Pin, GPIO_PIN_RESET);

  /*Configure GPIO pins : SDC1_Pin SDC2_Pin BMS_FAULT_READ_Pin IMD_FAULT_READ_Pin */
  GPIO_InitStruct.Pin = SDC1_Pin|SDC2_Pin|BMS_FAULT_READ_Pin|IMD_FAULT_READ_Pin;
  GPIO_InitStruct.Mode = GPIO_MODE_INPUT;
  GPIO_InitStruct.Pull = GPIO_NOPULL;
  HAL_GPIO_Init(GPIOC, &GPIO_InitStruct);

  /*Configure GPIO pins : MCU_FAULT_Pin MCU_GSENSE_Pin MCU_HEART_Pin PORTB_CS_Pin
                           PORTA_CS_Pin */
  GPIO_InitStruct.Pin = MCU_FAULT_Pin|MCU_GSENSE_Pin|MCU_HEART_Pin|PORTB_CS_Pin
                          |PORTA_CS_Pin;
  GPIO_InitStruct.Mode = GPIO_MODE_OUTPUT_PP;
  GPIO_InitStruct.Pull = GPIO_NOPULL;
  GPIO_InitStruct.Speed = GPIO_SPEED_FREQ_LOW;
  HAL_GPIO_Init(GPIOA, &GPIO_InitStruct);

  /*Configure GPIO pins : PRECHARGE_DONE_Pin PACK_MON_CS_N_Pin */
  GPIO_InitStruct.Pin = PRECHARGE_DONE_Pin|PACK_MON_CS_N_Pin;
  GPIO_InitStruct.Mode = GPIO_MODE_OUTPUT_PP;
  GPIO_InitStruct.Pull = GPIO_NOPULL;
  GPIO_InitStruct.Speed = GPIO_SPEED_FREQ_LOW;
  HAL_GPIO_Init(GPIOB, &GPIO_InitStruct);

  /*Configure GPIO pin : BMS_FAULT_Pin */
  GPIO_InitStruct.Pin = BMS_FAULT_Pin;
  GPIO_InitStruct.Mode = GPIO_MODE_OUTPUT_OD;
  GPIO_InitStruct.Pull = GPIO_NOPULL;
  GPIO_InitStruct.Speed = GPIO_SPEED_FREQ_LOW;
  HAL_GPIO_Init(BMS_FAULT_GPIO_Port, &GPIO_InitStruct);

  /*Configure GPIO pin : BMS_INB_N_Pin */
  GPIO_InitStruct.Pin = BMS_INB_N_Pin;
  GPIO_InitStruct.Mode = GPIO_MODE_OUTPUT_OD;
  GPIO_InitStruct.Pull = GPIO_NOPULL;
  GPIO_InitStruct.Speed = GPIO_SPEED_FREQ_LOW;
  HAL_GPIO_Init(BMS_INB_N_GPIO_Port, &GPIO_InitStruct);

}

void startPrintTask(void const * argument)
{
  /* USER CODE BEGIN 5 */
  (void)argument;

  initPrintTask();
  TickType_t lastPrintTaskTick = xTaskGetTickCount();
  const TickType_t printTaskPeriod = pdMS_TO_TICKS(2000);

  /* Infinite loop */
  for(;;)
  {
    // runPrintTask();
    vTaskDelayUntil(&lastPrintTaskTick, printTaskPeriod);
  }
  /* USER CODE END 5 */
}

void startStatusUpdateTask(void const * argument)
{
  /* USER CODE BEGIN startStatusUpdateTask */
  (void)argument;

  initStatusUpdateTask();
  TickType_t lastStatusUpdateTaskTick = xTaskGetTickCount();
  const TickType_t statusUpdateTaskPeriod = pdMS_TO_TICKS(10);

  /* Infinite loop */
  for(;;)
  {
    runStatusUpdateTask();
    vTaskDelayUntil(&lastStatusUpdateTaskTick, statusUpdateTaskPeriod);
  }
  /* USER CODE END startStatusUpdateTask */
}

void startUpdateCellMon(void const * argument)
{
  /* USER CODE BEGIN startUpdateCellMon */
  (void)argument;

  initUpdateCellMonitorTask();
  TickType_t lastUpdateCellMonitorTaskTick = xTaskGetTickCount();
  const TickType_t updateCellMonitorTaskPeriod = pdMS_TO_TICKS(100);

  /* Infinite loop */
  for(;;)
  {
    // uint32_t taskStart = HAL_GetTick();
    runUpdateCellMonitorTask();
    // printf("%lu\n", (HAL_GetTick() - taskStart));
    vTaskDelayUntil(&lastUpdateCellMonitorTaskTick, updateCellMonitorTaskPeriod);
  }
  /* USER CODE END startUpdateCellMon */
}

void startUpdatePackMon(void const * argument)
{
  /* USER CODE BEGIN startUpdatePackMon */
  (void)argument;

  initUpdatePackMonitorTask();
  TickType_t lastUpdatePackMonitorTaskTick = xTaskGetTickCount();
  const TickType_t updatePackMonitorTaskPeriod = pdMS_TO_TICKS(24);

  /* Infinite loop */
  for(;;)
  {
    runUpdatePackMonitorTask();
    vTaskDelayUntil(&lastUpdatePackMonitorTaskTick, updatePackMonitorTaskPeriod);
  }
  /* USER CODE END startUpdatePackMon */
}

void startServiceGcanTask(void const * argument)
{
  /* USER CODE BEGIN startServiceGcanTask */
  (void)argument;

  initGcanUpdateTask();
  TickType_t lastServiceGcanTaskTick = xTaskGetTickCount();
  const TickType_t serviceGcanTaskPeriod = pdMS_TO_TICKS(10);

  /* Infinite loop */
  for(;;)
  {
    runGcanUpdateTask();
    vTaskDelayUntil(&lastServiceGcanTaskTick, serviceGcanTaskPeriod);
  }
  /* USER CODE END startServiceGcanTask */
}

void startChargerTask(void const * argument)
{
  /* USER CODE BEGIN startChargerTask */
  (void)argument;

  initChargerTask();
  TickType_t lastChargerTaskTick = xTaskGetTickCount();
  const TickType_t chargerTaskPeriod = pdMS_TO_TICKS(100);

  /* Infinite loop */
  for(;;)
  {
    runChargerTask();
    vTaskDelayUntil(&lastChargerTaskTick, chargerTaskPeriod);
  }
  /* USER CODE END startChargerTask */
}

void StartImdTask(void const * argument)
{
  /* USER CODE BEGIN StartImdTask */
  (void)argument;

  initImdTask();
  TickType_t lastImdTaskTick = xTaskGetTickCount();
  const TickType_t imdTaskPeriod = pdMS_TO_TICKS(150);

  /* Infinite loop */
  for(;;)
  {
    runImdTask();
    vTaskDelayUntil(&lastImdTaskTick, imdTaskPeriod);
  }
  /* USER CODE END StartImdTask */
}

void HAL_TIM_PeriodElapsedCallback(TIM_HandleTypeDef *htim)
{
  if (htim->Instance == TIM6) {
    HAL_IncTick();
  }
  /* USER CODE BEGIN Callback 1 */
  BaseType_t xHigherPriorityTaskWoken = pdFALSE;

  if (htim->Instance == TIM7) {
    HAL_TIM_Base_Stop_IT(&htim7);
		xTaskNotifyFromISR(updateCellMonHandle, 0, eNoAction, &xHigherPriorityTaskWoken);
  }

  if (htim->Instance == TIM14) {
    HAL_TIM_Base_Stop_IT(&htim14);
		xTaskNotifyFromISR(updatePackMonHandle, 0, eNoAction, &xHigherPriorityTaskWoken);
  }

  portYIELD_FROM_ISR(xHigherPriorityTaskWoken);

  /* USER CODE END Callback 1 */
}

void Error_Handler(void)
{
  __disable_irq();
  while (1)
  {
  }
}
